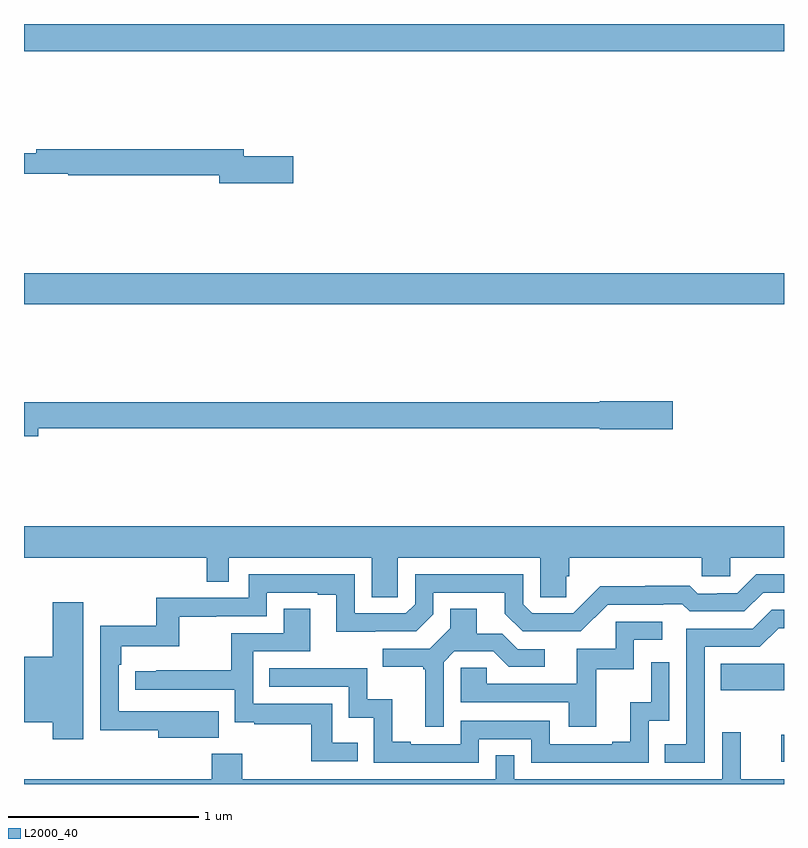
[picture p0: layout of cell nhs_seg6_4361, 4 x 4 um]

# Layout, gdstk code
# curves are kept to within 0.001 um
import gdstk
lib = gdstk.Library(unit=1e-6, precision=1e-09)
def R(c, l, rs):  # rectangles x0, y0, x1, y1
    for r in rs: c.add(gdstk.rectangle(r[:2], r[2:], *l))
def P(c, l, *ps):  # polygons
    for p in ps: c.add(gdstk.Polygon(p, *l))
L2000_40 = (2000, 40)

nhs_seg6_4361 = lib.new_cell('nhs_seg6_4361')
R(nhs_seg6_4361, L2000_40, [(372.986,923.616,373,923.76), (372.667,923.993,373,924.133), (369,926.024,373,926.188), (369,927.356,373,927.5)])
P(nhs_seg6_4361, L2000_40, [(370.417,926.804),(370.156,926.804),(370.156,926.84),(369.064,926.84),(369.064,926.821),(369,926.821),(369,926.712),(369.232,926.712),(369.232,926.704),(370.028,926.704),(370.028,926.662),(370.417,926.662)],
  [(369.076,925.372),(372.03,925.372),(372.03,925.367),(372.415,925.367),(372.415,925.514),(372.03,925.514),(372.03,925.508),(369,925.508),(369,925.33),(369.076,925.33)],
  [(370.968,924.692),(371.718,924.692),(371.718,924.484),(371.855,924.484),(371.855,924.594),(371.87,924.594),(371.87,924.692),(372.567,924.692),(372.567,924.594),(372.717,924.594),(372.717,924.692),(373,924.692),(373,924.856),(369,924.856),(369,924.692),(369.961,924.692),(369.961,924.565),(370.077,924.565),(370.077,924.692),(370.829,924.692),(370.829,924.484),(370.968,924.484)],
  [(370.025,923.884),(369.498,923.883),(369.498,924.128),(369.512,924.128),(369.512,924.224),(369.817,924.224),(369.817,924.379),(370.013,924.379),(370.013,924.384),(370.278,924.384),(370.278,924.507),(370.547,924.507),(370.547,924.495),(370.643,924.495),(370.643,924.302),(371.064,924.303),(371.154,924.393),(371.154,924.507),(371.531,924.507),(371.531,924.397),(371.625,924.303),(371.931,924.303),(372.072,924.444),(372.365,924.444),(372.365,924.447),(372.464,924.447),(372.503,924.408),(372.792,924.408),(372.891,924.507),(373,924.507),(373,924.603),(372.854,924.603),(372.755,924.504),(372.648,924.504),(372.648,924.501),(372.545,924.501),(372.503,924.544),(372.27,924.544),(372.27,924.541),(372.034,924.541),(371.892,924.399),(371.676,924.399),(371.628,924.447),(371.628,924.603),(371.058,924.603),(371.058,924.447),(371.01,924.399),(370.74,924.399),(370.74,924.603),(370.182,924.603),(370.182,924.48),(369.696,924.48),(369.696,924.334),(369.402,924.334),(369.402,923.782),(369.707,923.782),(369.707,923.744),(370.025,923.744)],
  [(369.313,924.457),(369.152,924.457),(369.152,924.169),(369,924.169),(369,923.825),(369.152,923.825),(369.152,923.736),(369.313,923.736)],
  [(371.208,924.141),(371.265,924.198),(371.471,924.198),(371.552,924.117),(371.74,924.117),(371.74,924.21),(371.598,924.21),(371.518,924.29),(371.383,924.29),(371.383,924.422),(371.243,924.422),(371.243,924.32),(371.136,924.213),(370.887,924.213),(370.887,924.116),(371.1,924.116),(371.1,924.105),(371.111,924.105),(371.111,923.802),(371.208,923.802)],
  [(370.757,923.716),(370.623,923.716),(370.623,923.922),(370.206,923.922),(370.206,924.198),(370.507,924.198),(370.507,924.422),(370.367,924.422),(370.367,924.294),(370.09,924.294),(370.09,924.098),(369.697,924.098),(369.697,924.093),(369.585,924.093),(369.585,923.997),(370.11,923.997),(370.11,923.825),(370.213,923.825),(370.213,923.814),(370.512,923.814),(370.512,923.619),(370.757,923.619)],
  [(372.582,924.222),(372.873,924.222),(372.972,924.321),(373,924.321),(373,924.417),(372.935,924.417),(372.836,924.318),(372.486,924.318),(372.486,923.709),(372.373,923.709),(372.373,923.613),(372.582,923.613)],
  [(372.011,924.105),(372.21,924.105),(372.21,924.258),(372.358,924.258),(372.358,924.354),(372.114,924.354),(372.114,924.213),(371.909,924.213),(371.909,924.027),(371.435,924.027),(371.435,924.111),(371.298,924.111),(371.298,923.931),(371.867,923.931),(371.867,923.802),(372.011,923.802)],
  [(371.394,923.736),(371.67,923.736),(371.67,923.613),(372.288,923.613),(372.288,923.832),(372.396,923.832),(372.396,924.142),(372.3,924.142),(372.3,923.93),(372.191,923.93),(372.191,923.722),(372.095,923.722),(372.095,923.709),(371.766,923.709),(371.766,923.832),(371.298,923.832),(371.298,923.709),(371.035,923.709),(371.035,923.722),(370.939,923.722),(370.939,923.947),(370.806,923.947),(370.806,924.108),(370.291,924.108),(370.291,924.012),(370.71,924.012),(370.71,923.849),(370.842,923.849),(370.842,923.613),(371.394,923.613)],
  [(373,923.524),(372.773,923.524),(372.773,923.773),(372.675,923.773),(372.675,923.524),(371.58,923.524),(371.58,923.651),(371.484,923.651),(371.484,923.524),(370.149,923.524),(370.149,923.659),(369.989,923.659),(369.989,923.524),(369,923.524),(369,923.5),(373,923.5)])

lib.write_gds('nhs_seg6_4361.gds')
